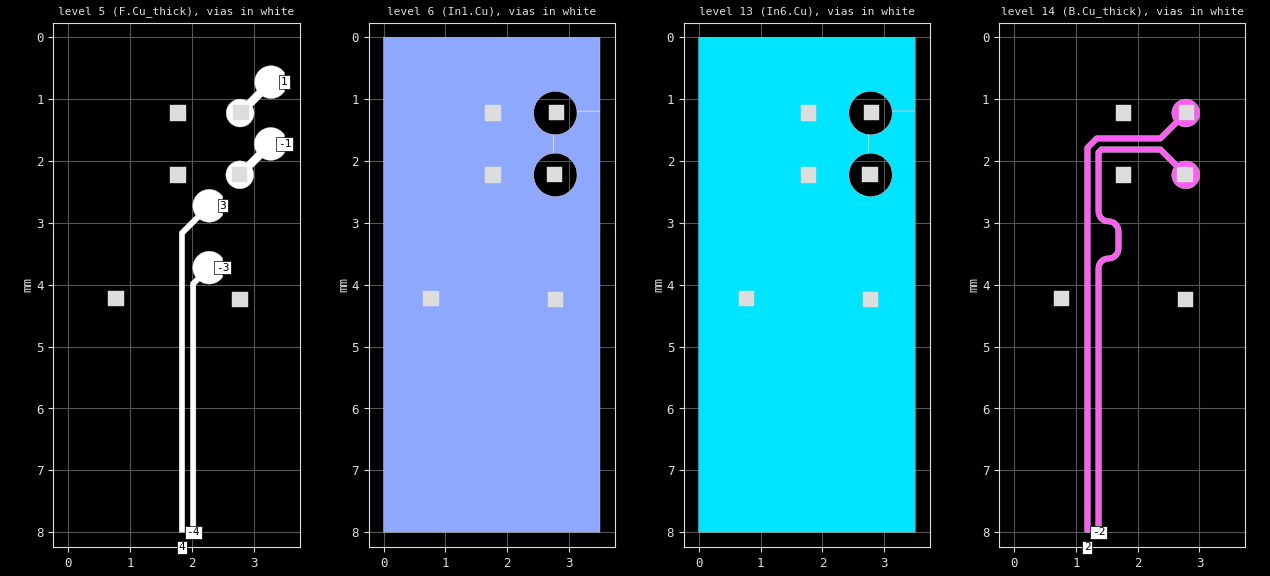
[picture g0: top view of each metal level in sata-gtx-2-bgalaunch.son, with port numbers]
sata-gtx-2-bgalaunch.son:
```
FTYP SONPROJ 19 ! Sonnet Project File
VER 18.52
HEADER
LIC antikernel2.1.51176
DAT 01/24/2022 11:57:28
BUILT_BY_CREATED dxf 18.52 12/15/2021 18:24:32
BUILT_BY_SAVED sonnet 18.52
MDATE 01/24/2022 11:57:28
HDATE 01/24/2022 11:57:28
ANN Created by dxfgeo, Sonnet Software Inc.
END HEADER
DIM
ANG DEG
CAP PF
CON /OH
FREQ GHZ
IND NH
LNG MM
RES OH
END DIM
CONTROL
VARSWP
OPTIONS  -dj
SPEED 1
CACHE_ABS 2
Q_ACC N
END CONTROL
GEO
TMET "Free Space" 0 FREESPACE 376.7303136 0 0 0
BMET "Free Space" 0 FREESPACE 376.7303136 0 0 0
MET "Copper_1oz_thin" 1 NOR 58000000 0.5 0.035 
MET "Copper_1oz_thick" 2 TMM 58000000 0.5 0.035 2
MET "Copper_0.5oz_thin" 4 NOR 58000000 0.5 0.017 
MET "Copper_0.5oz_thick" 12 TMM 58000000 0.5 0.017 2
MET "Copper_0.5oz_thick_down" 5 TMM 58000000 0.5 0.017 2 CDVY TDWN
MET "Copper_1oz_thick_down" 3 TMM 58000000 0.5 0.035 2 CDVY TDWN
MET "ConnectorPin" 9 TMM 58000000 0.5 0.3 3
BOX 16 3.5 8 700 1600 20 0
      5 1 1 0 0 0 0 "Air"
      0.3 1 1 0 0 0 0 "Air"
      0.3 1 1 0 0 0 0 "Air"
      0.3 1 1 0 0 0 0 "Air"
      0.26 1 1 0 0 0 0 "Air"
      0.04 3.5 1 0.025 0 0 0 "Soldermask"
      0.075 3.39 1 0.004 0 0 0 "Panasonic_R-5775(G)"
      0.068 3.56 1 0.004 0 0 0 "Panasonic_R-5670(G)"
      0.13 3.39 1 0.004 0 0 0 "Panasonic_R-5775(G)"
      0.092 3.56 1 0.004 0 0 0 "Panasonic_R-5670(G)"
      0.609 3.39 1 0.004 0 0 0 "Panasonic_R-5775(G)"
      0.092 3.56 1 0.004 0 0 0 "Panasonic_R-5670(G)"
      0.13 3.39 1 0.004 0 0 0 "Panasonic_R-5775(G)"
      0.068 3.56 1 0.004 0 0 0 "Panasonic_R-5670(G)"
      0.075 3.39 1 0.004 0 0 0 "Panasonic_R-5775(G)"
      0.04 3.5 1 0.025 0 0 0 "Soldermask"
      5 1 1 0 0 0 0 "Air"
TECHLAY METAL Pin4 <UNSPECIFIED> -1 -65534 CAD Pin4 drawing 
1 0 6 N 6523 1 1 100 100 0 0 0 Y
END
END
TECHLAY METAL Pin3 <UNSPECIFIED> -2 -65534 CAD Pin3 drawing 
2 0 6 N 6538 1 1 100 100 0 0 0 Y
END
END
TECHLAY METAL Pin2 <UNSPECIFIED> -3 -65534 CAD Pin2 drawing 
3 0 6 N 6541 1 1 100 100 0 0 0 Y
END
END
TECHLAY METAL F.Cu_thick L1D0 -4 -65534 CAD F.Cu_thick drawing 
5 0 1 N 6545 1 1 100 100 0 0 0 Y
END
END
TECHLAY METAL F.Cu_thin <UNSPECIFIED> -5 -65534 CAD F.Cu_thin drawing 
5 0 0 N 6555 1 1 100 100 0 0 0 Y
END
END
TECHLAY METAL ConnectorPin1 <UNSPECIFIED> -6 -65534 CAD ConnectorPin drawing 
5 0 6 N 6557 1 1 100 100 0 0 0 Y
END
END
TECHLAY VIA Via1 L9D0 -17 -65534 CAD Via1 drawing 
VIA POLYGON
5 0 -1 N 6877 1 1 100 100 0 0 0 Y
TOLEVEL 14 RING NOCOVERS
END
END
TECHLAY METAL In1.Cu L2D0 -7 -65534 CAD In1.Cu drawing 
6 0 0 N 6562 1 1 100 100 0 0 0 Y
END
END
TECHLAY METAL In2.Cu_thick L3D0 -8 -65534 CAD In2.Cu_thick drawing 
7 0 3 N 6565 1 1 100 100 0 0 0 Y
END
END
TECHLAY METAL In2.Cu_thin <UNSPECIFIED> -9 -65534 CAD In2.Cu drawing 
7 0 2 N 6567 1 1 100 100 0 0 0 Y
END
END
TECHLAY METAL In3.Cu L4D0 -10 -65534 CAD In3.Cu drawing 
8 0 0 N 6570 1 1 100 100 0 0 0 Y
END
END
TECHLAY METAL In4.Cu L5D0 -11 -65534 CAD In4.Cu drawing 
11 0 0 N 6575 1 1 100 100 0 0 0 Y
END
END
TECHLAY METAL In5.Cu_thick L6D0 -12 -65534 CAD In5.Cu_thick drawing 
12 0 4 N 6578 1 1 100 100 0 0 0 Y
END
END
TECHLAY METAL In5.Cu_thin <UNSPECIFIED> -13 -65534 CAD In5.Cu drawing 
12 0 2 N 6580 1 1 100 100 0 0 0 Y
END
END
TECHLAY METAL In6.Cu L7D0 -14 -65534 CAD In6.Cu drawing 
13 0 0 N 6583 1 1 100 100 0 0 0 Y
END
END
TECHLAY METAL B.Cu_thick L8D0 -15 -65534 CAD B.Cu_thick drawing 
14 0 5 N 6586 1 1 100 100 0 0 0 Y
END
END
TECHLAY METAL B.Cu_thin <UNSPECIFIED> -16 -65534 CAD B.Cu_thin drawing 
14 0 0 N 6588 1 1 100 100 0 0 0 Y
END
END
LORGN 0 8 U 
POR1 BOX
POLY 6015 1
37
1 100 0 0 0 3.496 0.723 
POR1 BOX
POLY 6016 1
37
-1 100 0 0 0 3.496 1.722 
POR1 CUP Auto
GNDREF AUTO
TERMW FEED
POLY 6660 1
18
-3 100 0 0 0 2.496 3.723 
CUPGRP "Auto" LOCAL
ID 6873
END
POR1 BOX
POLY 6660 1
59
-4 100 0 0 0 2.018 8 
POR1 CUP Auto
GNDREF AUTO
TERMW FEED
POLY 6661 1
18
3 100 0 0 0 2.496 2.723 
CUPGRP "Auto" LOCAL
ID 6875
END
POR1 BOX
POLY 6661 1
59
4 100 0 0 0 1.838 8 
POR1 BOX
POLY 6664 1
243
-2 100 0 0 0 1.368 8 
POR1 BOX
POLY 6665 1
86
2 100 0 0 0 1.188 8 
NUM 14
5 111 1 N 6015 1 1 100 100 0 0 0 Y
TLAYNAM F.Cu_thick INH
2.811 1.446
2.833 1.441
2.854 1.435
2.874 1.426
2.894 1.416
2.912 1.404
2.929 1.39
2.945 1.374
2.959 1.357
2.971 1.339
2.981 1.319
2.99 1.299
2.996 1.278
3.001 1.256
3.003 1.234
3.003 1.212
3.001 1.19
2.996 1.168
2.99 1.147
2.981 1.127
2.976 1.117
3.143 0.95
3.165 0.963
3.189 0.973
3.214 0.98
3.239 0.985
3.265 0.988
3.291 0.988
3.317 0.985
3.342 0.98
3.367 0.973
3.391 0.963
3.414 0.95
3.436 0.936
3.456 0.919
3.474 0.901
3.491 0.881
3.496 0.873142857
3.496 0.572857143
3.491 0.565
3.474 0.545
3.456 0.527
3.436 0.51
3.414 0.496
3.391 0.483
3.367 0.473
3.342 0.466
3.317 0.461
3.291 0.458
3.265 0.458
3.239 0.461
3.214 0.466
3.189 0.473
3.165 0.483
3.142 0.496
3.12 0.51
3.1 0.527
3.082 0.545
3.065 0.565
3.051 0.587
3.038 0.61
3.028 0.634
3.021 0.659
3.016 0.684
3.013 0.71
3.013 0.736
3.016 0.762
3.021 0.787
3.028 0.812
3.038 0.836
3.051 0.858
2.884 1.025
2.874 1.02
2.854 1.011
2.833 1.005
2.811 1
2.789 0.998
2.767 0.998
2.745 1
2.723 1.005
2.702 1.011
2.682 1.02
2.662 1.03
2.644 1.042
2.627 1.056
2.611 1.072
2.597 1.089
2.585 1.107
2.575 1.127
2.566 1.147
2.56 1.168
2.555 1.19
2.553 1.212
2.553 1.234
2.555 1.256
2.56 1.278
2.566 1.299
2.575 1.319
2.585 1.339
2.597 1.357
2.611 1.374
2.627 1.39
2.644 1.404
2.662 1.416
2.682 1.426
2.702 1.435
2.723 1.441
2.745 1.446
2.767 1.448
2.789 1.448
2.811 1.446
END
5 111 1 N 6016 1 1 100 100 0 0 0 Y
TLAYNAM F.Cu_thick INH
2.806 2.445
2.828 2.44
2.849 2.434
2.869 2.425
2.889 2.415
2.907 2.403
2.924 2.389
2.94 2.373
2.954 2.356
2.966 2.338
2.976 2.318
2.985 2.298
2.991 2.277
2.996 2.255
2.998 2.233
2.998 2.211
2.996 2.189
2.991 2.167
2.985 2.146
2.976 2.126
2.971 2.116
3.138 1.949
3.16 1.962
3.184 1.972
3.209 1.979
3.234 1.984
3.26 1.987
3.286 1.987
3.312 1.984
3.337 1.979
3.362 1.972
3.386 1.962
3.409 1.949
3.431 1.935
3.451 1.918
3.469 1.9
3.486 1.88
3.496 1.864285714
3.496 1.579714286
3.486 1.564
3.469 1.544
3.451 1.526
3.431 1.509
3.409 1.495
3.386 1.482
3.362 1.472
3.337 1.465
3.312 1.46
3.286 1.457
3.26 1.457
3.234 1.46
3.209 1.465
3.184 1.472
3.16 1.482
3.137 1.495
3.115 1.509
3.095 1.526
3.077 1.544
3.06 1.564
3.046 1.586
3.033 1.609
3.023 1.633
3.016 1.658
3.011 1.683
3.008 1.709
3.008 1.735
3.011 1.761
3.016 1.786
3.023 1.811
3.033 1.835
3.046 1.857
2.879 2.024
2.869 2.019
2.849 2.01
2.828 2.004
2.806 1.999
2.784 1.997
2.762 1.997
2.74 1.999
2.718 2.004
2.697 2.01
2.677 2.019
2.657 2.029
2.639 2.041
2.622 2.055
2.606 2.071
2.592 2.088
2.58 2.106
2.57 2.126
2.561 2.146
2.555 2.167
2.55 2.189
2.548 2.211
2.548 2.233
2.55 2.255
2.555 2.277
2.561 2.298
2.57 2.318
2.58 2.338
2.592 2.356
2.606 2.373
2.622 2.389
2.639 2.403
2.657 2.415
2.677 2.425
2.697 2.434
2.718 2.44
2.74 2.445
2.762 2.447
2.784 2.447
2.806 2.445
END
5 62 1 V 6660 1 1 100 100 0 0 0 Y
TLAYNAM F.Cu_thick NOH
2.063 4.001
2.125 3.939
2.142 3.95
2.165 3.963
2.189 3.973
2.214 3.98
2.239 3.985
2.265 3.988
2.291 3.988
2.317 3.985
2.342 3.98
2.367 3.973
2.391 3.963
2.414 3.95
2.436 3.936
2.456 3.919
2.474 3.901
2.491 3.881
2.496 3.873142857
2.496 3.572857143
2.491 3.565
2.474 3.545
2.456 3.527
2.436 3.51
2.414 3.496
2.391 3.483
2.367 3.473
2.342 3.466
2.317 3.461
2.291 3.458
2.265 3.458
2.239 3.461
2.214 3.466
2.189 3.473
2.165 3.483
2.142 3.496
2.12 3.51
2.1 3.527
2.082 3.545
2.065 3.565
2.051 3.587
2.038 3.61
2.028 3.634
2.021 3.659
2.016 3.684
2.013 3.71
2.013 3.736
2.016 3.762
2.021 3.787
2.028 3.812
2.038 3.836
2.051 3.859
2.062 3.876
1.982 3.956
1.979 3.96
1.977 3.964
1.976 3.968
1.974 3.972
1.973 3.976
1.973 8
2.063 8
2.063 4.001
END
5 62 1 V 6661 1 1 100 100 0 0 0 Y
TLAYNAM F.Cu_thick NOH
1.883 3.181
2.125 2.939
2.142 2.95
2.165 2.963
2.189 2.973
2.214 2.98
2.239 2.985
2.265 2.988
2.291 2.988
2.317 2.985
2.342 2.98
2.367 2.973
2.391 2.963
2.414 2.95
2.436 2.936
2.456 2.919
2.474 2.901
2.491 2.881
2.496 2.873142857
2.496 2.572857143
2.491 2.565
2.474 2.545
2.456 2.527
2.436 2.51
2.414 2.496
2.391 2.483
2.367 2.473
2.342 2.466
2.317 2.461
2.291 2.458
2.265 2.458
2.239 2.461
2.214 2.466
2.189 2.473
2.165 2.483
2.142 2.496
2.12 2.51
2.1 2.527
2.082 2.545
2.065 2.565
2.051 2.587
2.038 2.61
2.028 2.634
2.021 2.659
2.016 2.684
2.013 2.71
2.013 2.736
2.016 2.762
2.021 2.787
2.028 2.812
2.038 2.836
2.051 2.859
2.062 2.876
1.802 3.136
1.799 3.14
1.797 3.144
1.796 3.148
1.794 3.152
1.793 3.156
1.793 8
1.883 8
1.883 3.181
END
VIA POLYGON
5 5 -1 N 6408 1 1 100 100 0 0 0 Y
TOLEVEL 14 RING NOCOVERS
TLAYNAM Via1 INH
1.646 1.098
1.896 1.098
1.896 1.348
1.646 1.348
1.646 1.098
END
VIA POLYGON
5 5 -1 N 6409 1 1 100 100 0 0 0 Y
TOLEVEL 14 RING NOCOVERS
TLAYNAM Via1 INH
1.646 2.098
1.896 2.098
1.896 2.348
1.646 2.348
1.646 2.098
END
VIA POLYGON
5 5 -1 N 6410 1 1 100 100 0 0 0 Y
TOLEVEL 14 RING NOCOVERS
TLAYNAM Via1 INH
0.646 4.098
0.896 4.098
0.896 4.348
0.646 4.348
0.646 4.098
END
VIA POLYGON
5 5 -1 N 6411 1 1 100 100 0 0 0 Y
TOLEVEL 14 RING NOCOVERS
TLAYNAM Via1 INH
2.652 4.109
2.902 4.109
2.902 4.359
2.652 4.359
2.652 4.109
END
VIA POLYGON
5 5 -1 N 6505 1 1 100 100 0 0 0 Y
TOLEVEL 14 RING NOCOVERS
TLAYNAM Via1 INH
2.668 1.091
2.918 1.091
2.918 1.341
2.668 1.341
2.668 1.091
END
VIA POLYGON
5 5 -1 N 6506 1 1 100 100 0 0 0 Y
TOLEVEL 14 RING NOCOVERS
TLAYNAM Via1 INH
2.643 2.091
2.893 2.091
2.893 2.341
2.643 2.341
2.643 2.091
END
6 99 0 N 6885 1 1 100 100 0 0 0 Y
TLAYNAM In1.Cu INH
3.5 0
0 0
0 8
3.5 8
3.5 1.191
3.128 1.191
3.128 1.261
3.115 1.322
3.085 1.394
3.085 1.395
3.05 1.446
3.004 1.492
2.938 1.537
2.937 1.537
2.887 1.558
2.885 1.558
2.81 1.573
2.746 1.573
2.746 1.873
2.816 1.873
2.877 1.886
2.949 1.916
2.95 1.916
3.001 1.951
3.047 1.997
3.092 2.063
3.092 2.064
3.113 2.114
3.113 2.116
3.128 2.191
3.128 2.261
3.115 2.322
3.085 2.394
3.085 2.395
3.05 2.446
3.004 2.492
2.938 2.537
2.937 2.537
2.887 2.558
2.885 2.558
2.81 2.573
2.74 2.573
2.679 2.56
2.607 2.53
2.606 2.53
2.555 2.495
2.509 2.449
2.464 2.383
2.464 2.382
2.443 2.332
2.443 2.33
2.428 2.255
2.428 2.185
2.441 2.124
2.471 2.052
2.471 2.051
2.506 2
2.552 1.954
2.618 1.909
2.619 1.909
2.669 1.888
2.671 1.888
2.746 1.873
2.746 1.573
2.74 1.573
2.679 1.56
2.607 1.53
2.606 1.53
2.555 1.495
2.509 1.449
2.464 1.383
2.464 1.382
2.443 1.332
2.443 1.33
2.428 1.255
2.428 1.185
2.441 1.124
2.471 1.052
2.471 1.051
2.506 1
2.552 0.954
2.618 0.909
2.619 0.909
2.669 0.888
2.671 0.888
2.746 0.873
2.816 0.873
2.877 0.886
2.949 0.916
2.95 0.916
3.001 0.951
3.047 0.997
3.092 1.063
3.092 1.064
3.113 1.114
3.113 1.116
3.128 1.191
3.5 1.191
3.5 0
END
13 99 0 N 6887 1 1 100 100 0 0 0 Y
TLAYNAM In6.Cu INH
3.5 0
0 0
0 8
3.5 8
3.5 1.191
3.128 1.191
3.128 1.261
3.115 1.322
3.085 1.394
3.085 1.395
3.05 1.446
3.004 1.492
2.938 1.537
2.937 1.537
2.887 1.558
2.885 1.558
2.81 1.573
2.746 1.573
2.746 1.873
2.816 1.873
2.877 1.886
2.949 1.916
2.95 1.916
3.001 1.951
3.047 1.997
3.092 2.063
3.092 2.064
3.113 2.114
3.113 2.116
3.128 2.191
3.128 2.261
3.115 2.322
3.085 2.394
3.085 2.395
3.05 2.446
3.004 2.492
2.938 2.537
2.937 2.537
2.887 2.558
2.885 2.558
2.81 2.573
2.74 2.573
2.679 2.56
2.607 2.53
2.606 2.53
2.555 2.495
2.509 2.449
2.464 2.383
2.464 2.382
2.443 2.332
2.443 2.33
2.428 2.255
2.428 2.185
2.441 2.124
2.471 2.052
2.471 2.051
2.506 2
2.552 1.954
2.618 1.909
2.619 1.909
2.669 1.888
2.671 1.888
2.746 1.873
2.746 1.573
2.74 1.573
2.679 1.56
2.607 1.53
2.606 1.53
2.555 1.495
2.509 1.449
2.464 1.383
2.464 1.382
2.443 1.332
2.443 1.33
2.428 1.255
2.428 1.185
2.441 1.124
2.471 1.052
2.471 1.051
2.506 1
2.552 0.954
2.618 0.909
2.619 0.909
2.669 0.888
2.671 0.888
2.746 0.873
2.816 0.873
2.877 0.886
2.949 0.916
2.95 0.916
3.001 0.951
3.047 0.997
3.092 1.063
3.092 1.064
3.113 1.114
3.113 1.116
3.128 1.191
3.5 1.191
3.5 0
END
14 246 5 V 6664 1 1 100 100 0 0 0 Y
TLAYNAM B.Cu_thick NOH
1.413 3.734
1.416 3.71
1.424 3.685
1.437 3.665
1.457 3.644
1.479 3.63
1.504 3.622
1.56 3.615
1.569 3.615
1.572 3.614
1.577 3.614
1.581 3.612
1.612 3.601
1.616 3.6
1.624 3.596
1.627 3.593
1.653 3.577
1.655 3.576
1.656 3.575
1.66 3.572
1.662 3.57
1.664 3.567
1.68 3.551
1.683 3.549
1.689 3.543
1.692 3.539
1.693 3.537
1.695 3.535
1.696 3.532
1.709 3.511
1.712 3.508
1.716 3.5
1.717 3.497
1.718 3.493
1.728 3.465
1.73 3.46
1.73 3.457
1.731 3.453
1.731 3.444
1.734 3.424
1.735 3.419
1.735 3.128
1.734 3.124
1.731 3.104
1.731 3.095
1.73 3.092
1.73 3.087
1.728 3.083
1.717 3.052
1.716 3.048
1.712 3.04
1.709 3.037
1.693 3.011
1.692 3.009
1.691 3.008
1.688 3.004
1.686 3.002
1.683 3
1.667 2.984
1.665 2.981
1.659 2.975
1.655 2.972
1.653 2.971
1.651 2.969
1.648 2.968
1.627 2.955
1.624 2.952
1.616 2.948
1.578 2.935
1.573 2.934
1.569 2.933
1.56 2.933
1.504 2.926
1.479 2.918
1.459 2.905
1.438 2.885
1.424 2.863
1.416 2.838
1.413 2.814
1.413 1.879
1.433 1.858
2.35 1.858
2.591 2.099
2.585 2.107
2.575 2.127
2.566 2.147
2.56 2.168
2.555 2.19
2.553 2.212
2.553 2.234
2.555 2.256
2.56 2.278
2.566 2.299
2.575 2.319
2.585 2.339
2.597 2.357
2.611 2.374
2.627 2.39
2.644 2.404
2.662 2.416
2.682 2.426
2.702 2.435
2.723 2.441
2.745 2.446
2.767 2.448
2.789 2.448
2.811 2.446
2.833 2.441
2.854 2.435
2.874 2.426
2.894 2.416
2.912 2.404
2.929 2.39
2.945 2.374
2.959 2.357
2.971 2.339
2.981 2.319
2.99 2.299
2.996 2.278
3.001 2.256
3.003 2.234
3.003 2.212
3.001 2.19
2.996 2.168
2.99 2.147
2.981 2.127
2.971 2.107
2.959 2.089
2.945 2.072
2.929 2.056
2.912 2.042
2.894 2.03
2.874 2.02
2.854 2.011
2.833 2.005
2.811 2
2.789 1.998
2.767 1.998
2.745 2
2.723 2.005
2.702 2.011
2.682 2.02
2.662 2.03
2.654 2.036
2.407 1.79
2.404 1.786
2.395 1.777
2.391 1.774
2.387 1.772
2.383 1.771
2.379 1.769
2.375 1.768
1.408 1.768
1.404 1.769
1.4 1.771
1.396 1.772
1.392 1.774
1.388 1.777
1.341 1.824
1.334 1.83
1.332 1.833
1.329 1.837
1.325 1.845
1.323 1.853
1.323 2.819
1.324 2.824
1.327 2.844
1.327 2.853
1.328 2.857
1.328 2.86
1.33 2.865
1.34 2.893
1.341 2.897
1.342 2.9
1.346 2.908
1.349 2.911
1.362 2.932
1.363 2.935
1.365 2.937
1.366 2.939
1.369 2.943
1.375 2.949
1.378 2.951
1.394 2.967
1.396 2.97
1.398 2.972
1.402 2.975
1.403 2.976
1.405 2.977
1.431 2.993
1.434 2.996
1.442 3
1.446 3.001
1.477 3.012
1.481 3.014
1.486 3.014
1.489 3.015
1.498 3.015
1.554 3.022
1.579 3.03
1.601 3.044
1.621 3.065
1.634 3.085
1.642 3.11
1.645 3.134
1.645 3.414
1.642 3.438
1.634 3.463
1.62 3.485
1.599 3.505
1.579 3.518
1.554 3.526
1.498 3.533
1.489 3.533
1.485 3.534
1.48 3.535
1.442 3.548
1.434 3.552
1.431 3.555
1.41 3.568
1.407 3.569
1.405 3.571
1.403 3.572
1.399 3.575
1.393 3.581
1.391 3.584
1.375 3.6
1.372 3.602
1.37 3.604
1.367 3.608
1.366 3.609
1.365 3.611
1.349 3.637
1.346 3.64
1.342 3.648
1.341 3.652
1.33 3.683
1.328 3.687
1.328 3.692
1.327 3.695
1.327 3.704
1.324 3.724
1.323 3.728
1.323 8
1.413 8
1.413 3.734
END
14 89 5 V 6665 1 1 100 100 0 0 0 Y
TLAYNAM B.Cu_thick NOH
1.233 1.805
1.359 1.678
2.375 1.678
2.379 1.677
2.383 1.675
2.387 1.674
2.391 1.672
2.395 1.669
2.654 1.41
2.662 1.416
2.682 1.426
2.702 1.435
2.723 1.441
2.745 1.446
2.767 1.448
2.789 1.448
2.811 1.446
2.833 1.441
2.854 1.435
2.874 1.426
2.894 1.416
2.912 1.404
2.929 1.39
2.945 1.374
2.959 1.357
2.971 1.339
2.981 1.319
2.99 1.299
2.996 1.278
3.001 1.256
3.003 1.234
3.003 1.212
3.001 1.19
2.996 1.168
2.99 1.147
2.981 1.127
2.971 1.107
2.959 1.089
2.945 1.072
2.929 1.056
2.912 1.042
2.894 1.03
2.874 1.02
2.854 1.011
2.833 1.005
2.811 1
2.789 0.998
2.767 0.998
2.745 1
2.723 1.005
2.702 1.011
2.682 1.02
2.662 1.03
2.644 1.042
2.627 1.056
2.611 1.072
2.597 1.089
2.585 1.107
2.575 1.127
2.566 1.147
2.56 1.168
2.555 1.19
2.553 1.212
2.553 1.234
2.555 1.256
2.56 1.278
2.566 1.299
2.575 1.319
2.585 1.339
2.591 1.347
2.35 1.588
1.334 1.588
1.33 1.589
1.326 1.591
1.321 1.592
1.318 1.594
1.31 1.6
1.307 1.603
1.305 1.606
1.161 1.75
1.155 1.755
1.149 1.763
1.147 1.767
1.146 1.771
1.144 1.775
1.143 1.779
1.143 8
1.233 8
1.233 1.805
END
END GEO
OPT
MAX 100
END OPT
VARSWP
ENABLED Y
FREQ Y AY ABS_ENTRY 0.001 12.0 -1 300 
END
END VARSWP
3DOPTIONS
GLOBAL 1
ALL 13 1
END 3DOPTIONS
```
